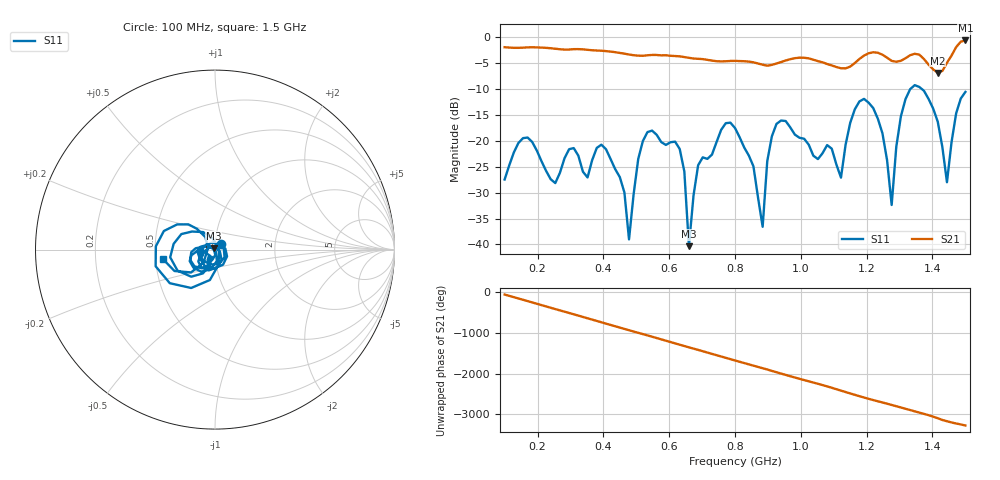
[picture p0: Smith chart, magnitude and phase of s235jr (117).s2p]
! NanoVNA-App
! Date: 2025-09-25 15:05:04
! Start: 100MHz Stop: 1,5GHz Points: 101
! S-Parameter data: F S11 S21 S12 S22
# Hz S RI R 50
!  Frequency  S11_Real  S11_Imag  S21_Real  S21_Imag  S12_Real  S12_Imag  S22_Real  S22_Imag
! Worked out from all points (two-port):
!   101 points, 100 MHz to 1.5 GHz, reference 50 ohm
!   highest |S21| = -0.66 dB at 1.5 GHz (marker M1); lowest = -6.9 dB at 1.416 GHz (marker M2)
!   |S21| within 3 dB of the highest: start of sweep to 616.7 MHz; 1.19 GHz to 1.254 GHz (63.79 MHz wide, 5.22 % of centre) (the widest 2 of 4)
!   lowest |S11| = -40.3 dB at 660 MHz (marker M3), VSWR 1.02, Z = 49.3 + j0.63 ohm
!   |S11| at or under -10 dB: start of sweep to 1.333 GHz; 1.367 GHz to end of sweep
!   S12 and S22 are empty: the file has one direction only
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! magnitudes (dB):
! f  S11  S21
! 100 MHz  -27.5  -2.0
! 170 MHz  -19.4  -2.0
! 338 MHz  -26.0  -2.4
! 408 MHz  -21.6  -2.7
! 478 MHz  -39.0  -3.4
! 520 MHz  -20.1  -3.6
! 576 MHz  -20.3  -3.5
! 632 MHz  -21.6  -3.7
! 660 MHz  -40.3  -4.0
! 688 MHz  -24.7  -4.2
! 800 MHz  -17.5  -4.6
! 884 MHz  -36.6  -5.3
! 926 MHz  -16.8  -5.1
! 1.038 GHz  -22.9  -4.4
! 1.122 GHz  -27.1  -6.0
! 1.192 GHz  -11.9  -3.6
! 1.248 GHz  -18.6  -3.4
! 1.276 GHz  -32.4  -4.6
! 1.332 GHz  -10.1  -3.5
! 1.416 GHz  -16.3  -6.9
! 1.444 GHz  -28.0  -5.0
! 1.5 GHz  -10.6  -0.7
